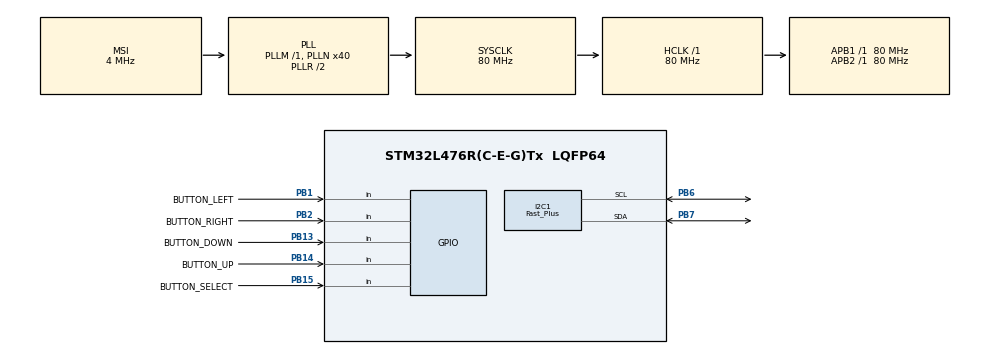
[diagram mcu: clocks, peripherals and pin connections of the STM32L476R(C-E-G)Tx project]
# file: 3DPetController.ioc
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Dma.I2C1_TX.0.Direction=DMA_MEMORY_TO_PERIPH
Dma.I2C1_TX.0.Instance=DMA1_Channel6
Dma.I2C1_TX.0.MemDataAlignment=DMA_MDATAALIGN_BYTE
Dma.I2C1_TX.0.MemInc=DMA_MINC_ENABLE
Dma.I2C1_TX.0.Mode=DMA_NORMAL
Dma.I2C1_TX.0.PeriphDataAlignment=DMA_PDATAALIGN_BYTE
Dma.I2C1_TX.0.PeriphInc=DMA_PINC_DISABLE
Dma.I2C1_TX.0.Priority=DMA_PRIORITY_LOW
Dma.Request0=I2C1_TX
FREERTOS.Queues01=queueMessages,5,Message_TypeDef,0,Dynamic,NULL,NULL
FREERTOS.Tasks01=defaultTask,8,128,StartDefaultTask,Default,NULL,Dynamic,NULL,NULL;display,24,512,StartDisplay,Default,NULL,Dynamic,NULL,NULL;buttonScan,8,256,StartButtonScan,Default,NULL,Dynamic,NULL,NULL
FREERTOS.configTOTAL_HEAP_SIZE=8192
I2C1.I2C_Speed_Mode=I2C_Fast_Plus
I2C1.Timing=0x00300F33
Mcu.Family=STM32L4
Mcu.Name=STM32L476R(C-E-G)Tx
Mcu.Package=LQFP64
NVIC.DMA1_Channel6_IRQn=true\:5\:0\:false\:false\:true\:true\:false\:true
NVIC.I2C1_EV_IRQn=true\:5\:0\:false\:false\:true\:true\:true\:true
NVIC.PriorityGroup=NVIC_PRIORITYGROUP_4
NVIC.TIM1_TRG_COM_TIM17_IRQn=true\:15\:0\:false\:false\:true\:false\:false\:true
NVIC.TimeBase=TIM1_TRG_COM_TIM17_IRQn
NVIC.TimeBaseIP=TIM17
PA13\ (JTMS-SWDIO).Mode=Serial_Wire
PA13\ (JTMS-SWDIO).Signal=SYS_JTMS-SWDIO
PA14\ (JTCK-SWCLK).Mode=Serial_Wire
PA14\ (JTCK-SWCLK).Signal=SYS_JTCK-SWCLK
PB1.GPIO_Label=BUTTON_LEFT
PB1.Signal=GPIO_Input
PB13.GPIO_Label=BUTTON_DOWN
PB13.Signal=GPIO_Input
PB14.GPIO_Label=BUTTON_UP
PB14.Signal=GPIO_Input
PB15.GPIO_Label=BUTTON_SELECT
PB15.Signal=GPIO_Input
PB2.GPIO_Label=BUTTON_RIGHT
PB2.Signal=GPIO_Input
PB6.Mode=I2C
PB6.Signal=I2C1_SCL
PB7.Mode=I2C
PB7.Signal=I2C1_SDA
ProjectManager.HeapSize=0x200
ProjectManager.StackSize=0x400
ProjectManager.TargetToolchain=STM32CubeIDE
RCC.ADCFreq_Value=16000000
RCC.AHBFreq_Value=80000000
RCC.APB1Freq_Value=80000000
RCC.APB1TimFreq_Value=80000000
RCC.APB2Freq_Value=80000000
RCC.APB2TimFreq_Value=80000000
RCC.CortexFreq_Value=80000000
RCC.HCLKFreq_Value=80000000
RCC.HSE_VALUE=8000000
RCC.HSI_VALUE=16000000
RCC.LSE_VALUE=32768
RCC.MSI_VALUE=4000000
RCC.PLLN=40
RCC.SYSCLKFreq_VALUE=80000000
RCC.SYSCLKSource=RCC_SYSCLKSOURCE_PLLCLK
RCC.USBFreq_Value=16000000
RCC.VCOOutputFreq_Value=160000000
VP_FREERTOS_VS_CMSIS_V2.Mode=CMSIS_V2
VP_SYS_VS_tim17.Mode=TIM17
board=custom

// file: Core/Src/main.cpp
/* USER CODE BEGIN Header */
/**
  ******************************************************************************
  * @file           : main.c
  * @brief          : Main program body
  ******************************************************************************
  * @attention
  *
  * <h2><center>&copy; Copyright (c) 2021 STMicroelectronics.
  * All rights reserved.</center></h2>
  *
  * This software component is licensed by ST under BSD 3-Clause license,
  * the "License"; You may not use this file except in compliance with the
  * License. You may obtain a copy of the License at:
  *                        opensource.org/licenses/BSD-3-Clause
  *
  ******************************************************************************
  */
/* USER CODE END Header */
#include "main.h"
#include "cmsis_os.h"

/* USER CODE BEGIN Includes */
#include "menu.h"
/* USER CODE END Includes */

I2C_HandleTypeDef hi2c1;
DMA_HandleTypeDef hdma_i2c1_tx;

/* Definitions for defaultTask */
osThreadId_t defaultTaskHandle;
const osThreadAttr_t defaultTask_attributes = {
  .name = "defaultTask",
  .stack_size = 128 * 4,
  .priority = (osPriority_t) osPriorityLow,
};
/* Definitions for display */
osThreadId_t displayHandle;
const osThreadAttr_t display_attributes = {
  .name = "display",
  .stack_size = 512 * 4,
  .priority = (osPriority_t) osPriorityNormal,
};
/* Definitions for buttonScan */
osThreadId_t buttonScanHandle;
const osThreadAttr_t buttonScan_attributes = {
  .name = "buttonScan",
  .stack_size = 256 * 4,
  .priority = (osPriority_t) osPriorityLow,
};
/* Definitions for queueMessages */
osMessageQueueId_t queueMessagesHandle;
const osMessageQueueAttr_t queueMessages_attributes = {
  .name = "queueMessages"
};

void SystemClock_Config(void);
static void MX_GPIO_Init(void);
static void MX_DMA_Init(void);
static void MX_I2C1_Init(void);
void StartDefaultTask(void *argument);
void StartDisplay(void *argument);
void StartButtonScan(void *argument);

int main(void)
{

  /* MCU Configuration--------------------------------------------------------*/

  /* Reset of all peripherals, Initializes the Flash interface and the Systick. */
  HAL_Init();

  /* Configure the system clock */
  SystemClock_Config();

  /* Initialize all configured peripherals */
  MX_GPIO_Init();
  MX_DMA_Init();
  MX_I2C1_Init();

  /* Init scheduler */
  osKernelInitialize();

  /* Create the queue(s) */
  /* creation of queueMessages */
  queueMessagesHandle = osMessageQueueNew (5, sizeof(Message_TypeDef), &queueMessages_attributes);

  /* Create the thread(s) */
  /* creation of defaultTask */
  defaultTaskHandle = osThreadNew(StartDefaultTask, NULL, &defaultTask_attributes);

  /* creation of display */
  displayHandle = osThreadNew(StartDisplay, NULL, &display_attributes);

  /* creation of buttonScan */
  buttonScanHandle = osThreadNew(StartButtonScan, NULL, &buttonScan_attributes);

  /* Start scheduler */
  osKernelStart();

  /* We should never get here as control is now taken by the scheduler */
  /* Infinite loop */
  while (1)
  {

  }
}

void SystemClock_Config(void)
{
  RCC_OscInitTypeDef RCC_OscInitStruct = {0};
  RCC_ClkInitTypeDef RCC_ClkInitStruct = {0};

  /** Configure the main internal regulator output voltage
  */
  if (HAL_PWREx_ControlVoltageScaling(PWR_REGULATOR_VOLTAGE_SCALE1) != HAL_OK)
  {
    Error_Handler();
  }
  /** Initializes the RCC Oscillators according to the specified parameters
  * in the RCC_OscInitTypeDef structure.
  */
  RCC_OscInitStruct.OscillatorType = RCC_OSCILLATORTYPE_MSI;
  RCC_OscInitStruct.MSIState = RCC_MSI_ON;
  RCC_OscInitStruct.MSICalibrationValue = 0;
  RCC_OscInitStruct.MSIClockRange = RCC_MSIRANGE_6;
  RCC_OscInitStruct.PLL.PLLState = RCC_PLL_ON;
  RCC_OscInitStruct.PLL.PLLSource = RCC_PLLSOURCE_MSI;
  RCC_OscInitStruct.PLL.PLLM = 1;
  RCC_OscInitStruct.PLL.PLLN = 40;
  RCC_OscInitStruct.PLL.PLLP = RCC_PLLP_DIV7;
  RCC_OscInitStruct.PLL.PLLQ = RCC_PLLQ_DIV2;
  RCC_OscInitStruct.PLL.PLLR = RCC_PLLR_DIV2;
  if (HAL_RCC_OscConfig(&RCC_OscInitStruct) != HAL_OK)
  {
    Error_Handler();
  }
  /** Initializes the CPU, AHB and APB buses clocks
  */
  RCC_ClkInitStruct.ClockType = RCC_CLOCKTYPE_HCLK|RCC_CLOCKTYPE_SYSCLK
                              |RCC_CLOCKTYPE_PCLK1|RCC_CLOCKTYPE_PCLK2;
  RCC_ClkInitStruct.SYSCLKSource = RCC_SYSCLKSOURCE_PLLCLK;
  RCC_ClkInitStruct.AHBCLKDivider = RCC_SYSCLK_DIV1;
  RCC_ClkInitStruct.APB1CLKDivider = RCC_HCLK_DIV1;
  RCC_ClkInitStruct.APB2CLKDivider = RCC_HCLK_DIV1;

  if (HAL_RCC_ClockConfig(&RCC_ClkInitStruct, FLASH_LATENCY_4) != HAL_OK)
  {
    Error_Handler();
  }
}

static void MX_I2C1_Init(void)
{

  hi2c1.Instance = I2C1;
  hi2c1.Init.Timing = 0x00300F33;
  hi2c1.Init.OwnAddress1 = 0;
  hi2c1.Init.AddressingMode = I2C_ADDRESSINGMODE_7BIT;
  hi2c1.Init.DualAddressMode = I2C_DUALADDRESS_DISABLE;
  hi2c1.Init.OwnAddress2 = 0;
  hi2c1.Init.OwnAddress2Masks = I2C_OA2_NOMASK;
  hi2c1.Init.GeneralCallMode = I2C_GENERALCALL_DISABLE;
  hi2c1.Init.NoStretchMode = I2C_NOSTRETCH_DISABLE;
  if (HAL_I2C_Init(&hi2c1) != HAL_OK)
  {
    Error_Handler();
  }
  /** Configure Analogue filter
  */
  if (HAL_I2CEx_ConfigAnalogFilter(&hi2c1, I2C_ANALOGFILTER_ENABLE) != HAL_OK)
  {
    Error_Handler();
  }
  /** Configure Digital filter
  */
  if (HAL_I2CEx_ConfigDigitalFilter(&hi2c1, 0) != HAL_OK)
  {
    Error_Handler();
  }
  /** I2C Fast mode Plus enable
  */
  HAL_I2CEx_EnableFastModePlus(I2C_FASTMODEPLUS_I2C1);

}

static void MX_DMA_Init(void)
{

  /* DMA controller clock enable */
  __HAL_RCC_DMA1_CLK_ENABLE();

  /* DMA interrupt init */
  /* DMA1_Channel6_IRQn interrupt configuration */
  HAL_NVIC_SetPriority(DMA1_Channel6_IRQn, 5, 0);
  HAL_NVIC_EnableIRQ(DMA1_Channel6_IRQn);

}

static void MX_GPIO_Init(void)
{
  GPIO_InitTypeDef GPIO_InitStruct = {0};

  /* GPIO Ports Clock Enable */
  __HAL_RCC_GPIOB_CLK_ENABLE();
  __HAL_RCC_GPIOA_CLK_ENABLE();

  /*Configure GPIO pins : BUTTON_LEFT_Pin BUTTON_RIGHT_Pin BUTTON_DOWN_Pin BUTTON_UP_Pin
                           BUTTON_SELECT_Pin */
  GPIO_InitStruct.Pin = BUTTON_LEFT_Pin|BUTTON_RIGHT_Pin|BUTTON_DOWN_Pin|BUTTON_UP_Pin
                          |BUTTON_SELECT_Pin;
  GPIO_InitStruct.Mode = GPIO_MODE_INPUT;
  GPIO_InitStruct.Pull = GPIO_NOPULL;
  HAL_GPIO_Init(GPIOB, &GPIO_InitStruct);

}

void StartDefaultTask(void *argument)
{
  for(;;)
  {
    osDelay(1);
  }
}

void StartDisplay(void *argument)
{
  /* USER CODE BEGIN StartDisplay */
	ssd1306_Init(&hi2c1);
	Rectangle rectMain(0, 0, SSD1306_WIDTH, SSD1306_HEIGHT);
	Rectangle rectButton(0, 0, SSD1306_WIDTH, 32);
	uint32_t value = 5000;
	menu::Line line1(rectButton, FontVerdana_16x16, &value);
	menu::SpinBox spinBox1(rectButton, FontVerdana_16x16, &value, 10000, 0, 100);
	menu::Button buttonHeating("НАГРЕВ", rectButton, FontVerdana_16x16);
	menu::Button buttonMotor("ДВИГАТЕЛЬ", rectButton, FontVerdana_16x16);
	menu::CheckBox checkBox1("CheckBox", rectButton, FontVerdana_16x16, ALIGN_RIGHT);
	menu::Button buttonItem1("Пункт 1", rectButton, FontVerdana_16x16);
	menu::Button buttonItem2("Пункт 2", rectButton, FontVerdana_16x16);
	buttonHeating.is_toggle = buttonMotor.is_toggle = true;
	menu::Control *controls[] = { &line1, &spinBox1, &buttonHeating, &buttonMotor, &checkBox1, &buttonItem1, &buttonItem2 };
	menu::Screen screenMain(rectMain, nullptr, nullptr, controls, 7);

	Message_TypeDef message;
	osStatus_t status;
	/* Infinite loop */
	for(;;)
	{
		uint8_t msg_count = osMessageQueueGetCount(queueMessagesHandle);
		if(msg_count > 0)
		{
			for(uint8_t i = 0; i < msg_count; i++)
			{
				status = osMessageQueueGet(queueMessagesHandle, &message, 0U, 0);
				if(status == osOK)
				{
					switch(message.id)
					{
						case ID_BUTTON:
						{
							uint32_t id_buttons = *((uint32_t*)message.param);

							if(id_buttons > 0)
							{
								for(uint8_t bit_pos = 0; bit_pos < 32; bit_pos++)
								{
									uint8_t bit = (1 << bit_pos);
									if(id_buttons & bit)
									{
										screenMain.onClick((menu::key_t)bit);
										id_buttons &= ~bit;
									}
								}
							}
						}
						break;
					}
				}
			}
		}

		screenMain.draw();
		osDelay(50);
	}
  /* USER CODE END StartDisplay */
}

void StartButtonScan(void *argument)
{
  /* USER CODE BEGIN StartButtonScan */
	key::key_set_t set_left =
	{
		BUTTON_LEFT_GPIO_Port,
		BUTTON_LEFT_Pin,
		menu::BUTTON_LEFT,
		GPIO_PIN_RESET,
		key::PRESSED_STATE,
		key::Keyboard::period,
		false
	};
	key::key_set_t set_right =
	{
		BUTTON_RIGHT_GPIO_Port,
		BUTTON_RIGHT_Pin,
		menu::BUTTON_RIGHT,
		GPIO_PIN_RESET,
		key::PRESSED_STATE,
		key::Keyboard::period,
		false
	};
	key::key_set_t set_up =
	{
		BUTTON_UP_GPIO_Port,
		BUTTON_UP_Pin,
		menu::BUTTON_UP,
		GPIO_PIN_RESET,
		key::PRESSED_STATE,
		key::Keyboard::period,
		false
	};
	key::key_set_t set_down =
	{
		BUTTON_DOWN_GPIO_Port,
		BUTTON_DOWN_Pin,
		menu::BUTTON_DOWN,
		GPIO_PIN_RESET,
		key::PRESSED_STATE,
		key::Keyboard::period,
		false
	};
	key::key_set_t set_select =
	{
		BUTTON_SELECT_GPIO_Port,
		BUTTON_SELECT_Pin,
		menu::BUTTON_SELECT,
		GPIO_PIN_RESET,
		key::PRESSED_STATE,
		key::Keyboard::period,
		true
	};
	key::Key button_left(set_left);
	key::Key button_right(set_right);
	key::Key button_up(set_up);
	key::Key button_down(set_down);
	key::Key button_select(set_select);
	key::Key *buttons[] = { &button_left, &button_right, &button_select, &button_up, &button_down };
	key::Keyboard keyboard(buttons, 5);

	Message_TypeDef message;
	uint32_t active_buttons;
	/* Infinite loop */
	for(;;)
	{
		active_buttons = 0;
		keyboard.scan();
		if(button_left.is_active)
		{
			active_buttons |= button_left.id();
			button_left.reset();
		}
		if(button_right.is_active)
		{
			active_buttons |= button_right.id();
			button_right.reset();
		}
		if(button_up.is_active)
		{
			active_buttons |= button_up.id();
			button_up.reset();
		}
		if(button_down.is_active)
		{
			active_buttons |= button_down.id();
			button_down.reset();
		}
		if(button_select.is_active)
		{
			active_buttons |= button_select.id();
			button_select.reset();
		}

		if(active_buttons != 0)
		{
			message.id = ID_BUTTON;
			message.param = (void*)&active_buttons;
			osMessageQueuePut(queueMessagesHandle, &message, 0U, 0);
		}

		osDelay(keyboard.period);
	}
  /* USER CODE END StartButtonScan */
}

void HAL_TIM_PeriodElapsedCallback(TIM_HandleTypeDef *htim)
{
  if (htim->Instance == TIM17) {
    HAL_IncTick();
  }
}

void Error_Handler(void)
{
  __disable_irq();
  while (1)
  {
  }
}

/************************ (C) COPYRIGHT STMicroelectronics *****END OF FILE****/
